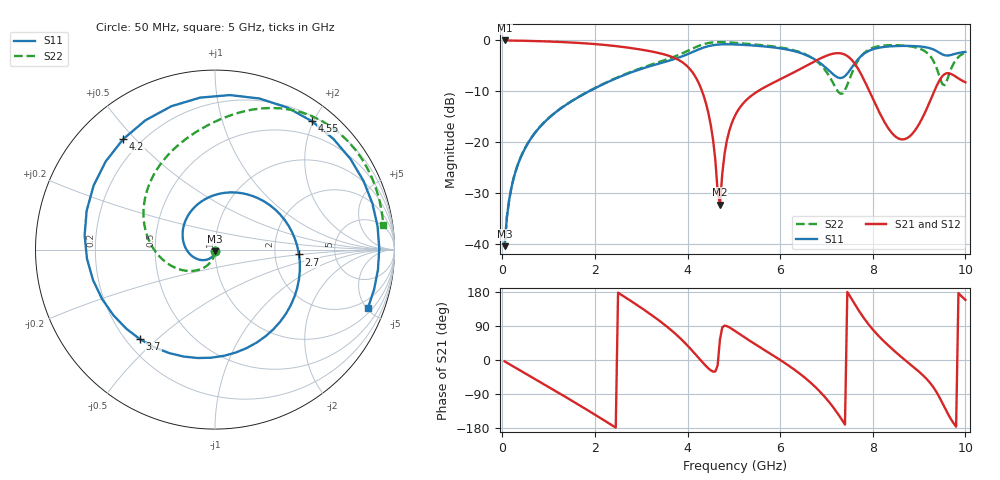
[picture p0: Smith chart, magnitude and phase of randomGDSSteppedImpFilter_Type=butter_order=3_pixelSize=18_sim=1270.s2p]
! freq	dB(S11)	phase(S11)	dB(S12)	phase(S12)
!  dB(S21)	phase(S21)	dB(S22)	phase(S22)
!S-par simulation data
#  GHz  S  DB  R 50
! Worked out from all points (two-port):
!   200 points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, 50 MHz to 10 GHz, reference 50 ohm
!   highest |S21| = -0.02 dB at 50 MHz (marker M1); lowest = -32.3 dB at 4.7 GHz (marker M2)
!   |S21| within 3 dB of the highest: start of sweep to 3.59 GHz; 7.003 GHz to 7.439 GHz (435.9 MHz wide, 6.04 % of centre)
!   lowest |S11| = -40.5 dB at 50 MHz (marker M3), VSWR 1.02, Z = 50 - j0.945 ohm
!   |S11| at or under -10 dB: start of sweep to 1.876 GHz
!   |S22| runs from -40.4 to -0.3 dB; largest |S21 - S12| = 0
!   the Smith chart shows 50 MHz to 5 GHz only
!   S11 on the Smith chart (normalised r, x): 50 MHz: 1.00, -0.02; 2.7 GHz: 2.75, -0.19; 3.7 GHz: 0.26, -0.44; 4.2 GHz: 0.13, +0.46; 4.55 GHz: 0.27, +1.98; 5 GHz: 1.32, -5.12
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0.05  -40.49 -87.6  -0.02 -3.6  -0.02 -3.6  -40.43 -85.1
0.5  -21.10 -138.2  -0.09 -35.5  -0.09 -35.5  -21.04 -113.5
1.15  -14.17 157.3  -0.27 -81.9  -0.27 -81.9  -14.13 -142.9
1.75  -10.62 96.2  -0.56 -125.6  -0.56 -125.6  -10.59 -168.9
2.7  -6.58 -3.3  -1.41 161.9  -1.41 161.9  -6.47 146.0
3.4  -4.53 -85.2  -2.53 102.9  -2.53 102.9  -4.22 109.8
3.7  -3.73 -129.9  -3.38 73.2  -3.38 73.2  -3.26 94.5
4.2  -1.93 129.7  -7.64 11.0  -7.64 11.0  -1.24 65.2
4.55  -0.95 52.9  -19.48 -30.7  -19.48 -30.7  -0.39 39.1
4.7  -0.80 24.8  -32.29 54.2  -32.29 54.2  -0.33 28.2
5  -0.80 -20.8  -15.30 78.7  -15.30 78.7  -0.47 8.2
5.05  -0.81 -27.3  -14.39 74.6  -14.39 74.6  -0.50 5.0
5.75  -1.27 -100.8  -8.81 19.5  -8.81 19.5  -1.08 -36.4
6.7  -3.50 161.5  -4.33 -64.5  -4.33 -64.5  -3.52 -104.1
7.1  -6.31 113.4  -2.72 -117.5  -2.72 -117.5  -7.66 -160.2
7.5  -5.94 83.0  -3.43 169.6  -3.43 169.6  -7.57 56.3
7.85  -2.39 30.7  -8.51 103.5  -8.51 103.5  -2.21 -19.5
8.35  -1.19 -34.1  -17.48 36.8  -17.48 36.8  -0.94 -74.6
9.15  -1.36 -98.4  -13.76 -48.4  -13.76 -48.4  -2.30 -153.5
9.45  -2.49 -116.2  -7.72 -101.0  -7.72 -101.0  -7.38 117.5
9.65  -2.95 -119.5  -6.47 -148.2  -6.47 -148.2  -6.61 -10.0
10  -2.27 -133.4  -8.24 158.6  -8.24 158.6  -2.42 -94.3
